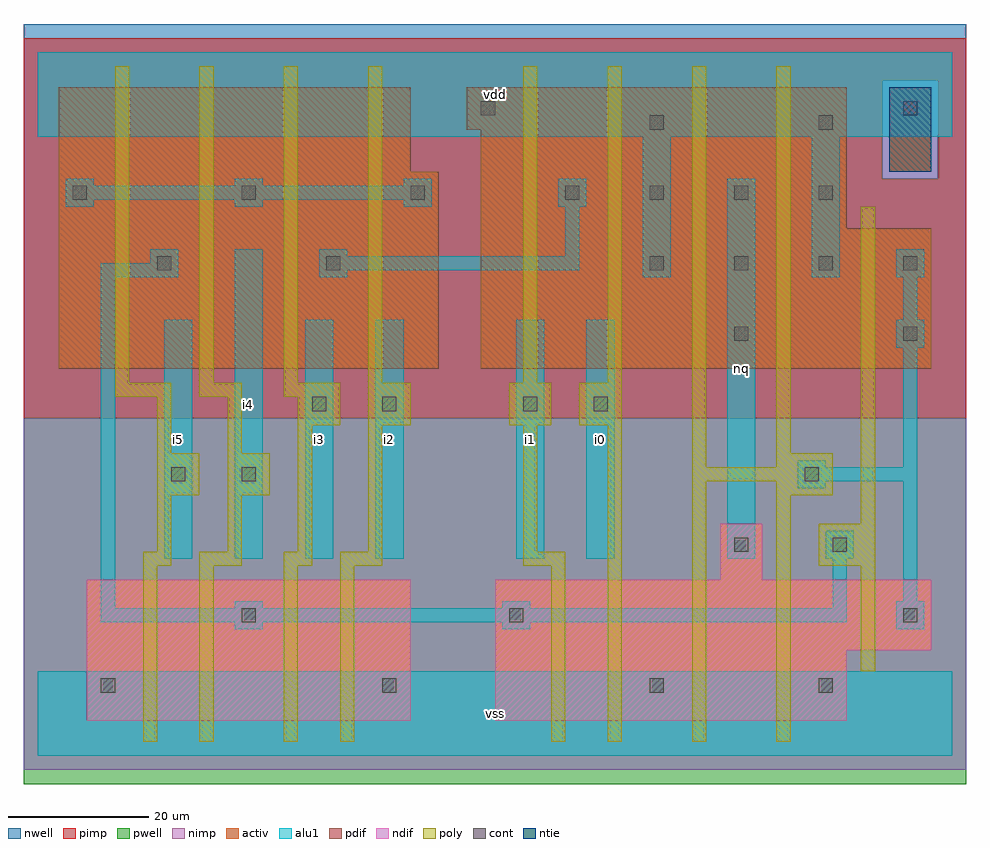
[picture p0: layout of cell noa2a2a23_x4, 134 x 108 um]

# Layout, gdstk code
import gdstk
lib = gdstk.Library(unit=1e-6, precision=1e-09)
def R(c, l, rs):  # rectangles x0, y0, x1, y1
    for r in rs: c.add(gdstk.rectangle(r[:2], r[2:], *l))
def A(c, l, x, y, w, h, nx, ny, dx, dy):  # array of equal rectangles
    R(c, l, [(x+i*dx, y+j*dy, x+i*dx+w, y+j*dy+h) for i in range(nx) for j in range(ny)])
ndif = (3, 0)
pdif = (4, 0)
ntie = (5, 0)
cont = (25, 0)
pwell = (41, 0)
nwell = (42, 0)
activ = (43, 0)
pimp = (44, 0)
nimp = (45, 0)
poly = (46, 0)
alu1 = (49, 0)

noa2a2a23_x4 = lib.new_cell('noa2a2a23_x4')
R(noa2a2a23_x4, ndif, [(7,5,53,25), (65,5,115,15), (65,15,127,25), (97,25,103,33)])
R(noa2a2a23_x4, pdif, [(3,55,57,83), (63,55,127,75), (63,75,115,89), (3,83,53,95), (61,89,115,95)])
R(noa2a2a23_x4, ntie, [(121,83,127,95)])
A(noa2a2a23_x4, cont, 87, 69, 2, 2, 4, 1, 12, 0)
A(noa2a2a23_x4, cont, 5, 79, 2, 2, 3, 1, 24, 0)
A(noa2a2a23_x4, cont, 75, 79, 2, 2, 4, 1, 12, 0)
R(noa2a2a23_x4, cont, [(9,9,11,11), (49,9,51,11), (87,9,89,11), (111,9,113,11), (29,19,31,21), (67,19,69,21), (123,19,125,21), (99,29,101,31), (113,29,115,31), (19,39,21,41), (29,39,31,41), (109,39,111,41), (39,49,41,51), (49,49,51,51), (69,49,71,51), (79,49,81,51), (99,59,101,61), (123,59,125,61), (17,69,19,71), (41,69,43,71), (87,89,89,91), (111,89,113,91), (63,91,65,93), (123,91,125,93)])
R(noa2a2a23_x4, pwell, [(-2,-4,132,48)])
R(noa2a2a23_x4, nwell, [(-2,48,132,104)])
R(noa2a2a23_x4, activ, [(7,5,53,25), (65,5,115,15), (65,15,127,25), (97,25,103,33), (3,55,57,83), (63,55,127,75), (63,75,115,89), (3,83,53,95), (121,83,127,95), (61,89,115,95)])
R(noa2a2a23_x4, pimp, [(-2,48,132,82), (-2,82,120,96), (128,82,132,96), (-2,96,132,102)])
R(noa2a2a23_x4, nimp, [(-2,-2,132,48), (120,82,128,96)])
A(noa2a2a23_x4, poly, 11, 53, 2, 45, 4, 1, 12, 0)
R(noa2a2a23_x4, poly, [(15,2,17,27), (23,2,25,27), (35,2,37,27), (43,2,45,27), (73,2,75,27), (81,2,83,47), (93,2,95,39), (105,2,107,37), (117,12,119,27), (15,27,19,29), (23,27,29,29), (35,27,39,29), (43,27,49,29), (69,27,75,29), (111,27,119,33), (17,29,19,37), (27,29,29,37), (37,29,39,47), (47,29,49,47), (69,29,71,47), (117,33,119,78), (17,37,23,43), (27,37,33,43), (105,37,113,39), (93,39,113,41), (93,41,95,98), (105,41,113,43), (17,43,19,51), (27,43,29,51), (105,43,107,98), (37,47,43,51), (47,47,53,53), (67,47,73,53), (77,47,83,53), (11,51,19,53), (23,51,29,53), (35,51,43,53), (69,53,71,98), (81,53,83,98)])
A(noa2a2a23_x4, alu1, 4, 78, 4, 1, 3, 2, 24, 3)
R(noa2a2a23_x4, alu1, [(0,0,130,12), (28,18,32,19), (66,18,70,19), (122,18,126,22), (9,19,115,21), (9,21,11,68), (28,21,32,22), (66,21,70,22), (113,21,115,28), (123,22,125,39), (18,28,22,62), (28,28,32,72), (38,28,42,62), (48,28,52,62), (68,28,72,62), (78,28,82,62), (98,28,102,82), (112,28,116,32), (108,38,112,39), (108,39,125,41), (108,41,112,42), (123,41,125,58), (122,58,126,62), (123,62,125,68), (9,68,20,70), (40,68,44,69), (86,68,90,88), (110,68,114,88), (122,68,126,72), (40,69,77,71), (16,70,20,72), (40,71,44,72), (75,71,77,78), (74,78,78,82), (4,79,56,81), (0,88,130,100)])
noa2a2a23_x4.add(gdstk.Label('i5', (20,45), layer=49, texttype=0))
noa2a2a23_x4.add(gdstk.Label('i3', (40,45), layer=49, texttype=0))
noa2a2a23_x4.add(gdstk.Label('i4', (30,50), layer=49, texttype=0))
noa2a2a23_x4.add(gdstk.Label('vss', (65,6), layer=49, texttype=0))
noa2a2a23_x4.add(gdstk.Label('i1', (70,45), layer=49, texttype=0))
noa2a2a23_x4.add(gdstk.Label('i2', (50,45), layer=49, texttype=0))
noa2a2a23_x4.add(gdstk.Label('vdd', (65,94), layer=49, texttype=0))
noa2a2a23_x4.add(gdstk.Label('i0', (80,45), layer=49, texttype=0))
noa2a2a23_x4.add(gdstk.Label('nq', (100,55), layer=49, texttype=0))

lib.write_gds('noa2a2a23_x4.gds')
